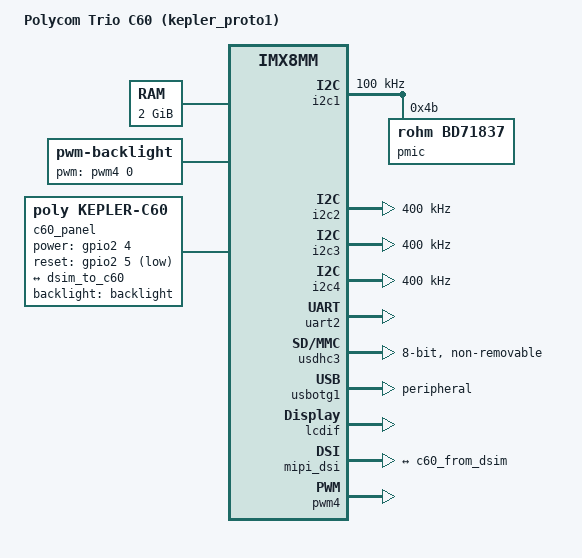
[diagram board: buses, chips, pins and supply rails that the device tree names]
// SPDX-License-Identifier: (GPL-2.0+ OR MIT)
/*
 * Polycom Trio C60 (codename kepler_proto1) — u-boot minimal DTS
 *
 * Derived from arch/arm/dts/imx8mm-evk.dts (NXP EVK reference) with C60
 * specifics:
 *   - 2 GiB LPDDR4 (vs EVK 1 GiB / 2 GiB variant)
 *   - PMIC: Rohm BD71837 @ i2c1 0x4b  (EVK uses PCA9450 @ 0x25)
 *   - usdhc3 (eMMC) — same pads/pinmux as EVK (verified byte-for-byte)
 *   - uart2 console — same pads/pinmux as EVK
 *
 * The kernel-side DTS lives in c60-firmware-build (richer: panel, audio,
 * WiFi, mic array). This one only has what u-boot needs to enumerate
 * eMMC, talk to UART2, and reach fastboot.
 */

/dts-v1/;

#include <dt-bindings/usb/pd.h>
#include <dt-bindings/gpio/gpio.h>
#include "imx8mm.dtsi"

/ {
	model = "Polycom Trio C60 (kepler_proto1)";
	compatible = "polycom,kepler-proto1", "fsl,imx8mm";

	chosen {
		stdout-path = &uart2;
	};

	memory@40000000 {
		device_type = "memory";
		reg = <0x0 0x40000000 0 0x80000000>;
	};

	aliases {
		mmc0 = &usdhc3;        /* eMMC */
		serial0 = &uart2;      /* console */
		usbgadget0 = &usbg1;
	};

	/*
	 * DM USB-gadget binding node. The ci-udc-otg driver
	 * (UCLASS_USB_GADGET_GENERIC) only binds to compatible
	 * "fsl,imx27-usb-gadget" with a chipidea,usb phandle. NXP supply
	 * this via imx8mm-evk-u-boot.dtsi; our standalone DTS has no
	 * matching -u-boot.dtsi, so without this node fastboot/ums fail
	 * with "No USB device found / USB init failed: -19". This is the
	 * single node that makes the gadget controller enumerate.
	 */
	usbg1: usbg1 {
		compatible = "fsl,imx27-usb-gadget";
		dr_mode = "peripheral";
		chipidea,usb = <&usbotg1>;
		status = "okay";
	};
};

&i2c1 {
	clock-frequency = <100000>;
	pinctrl-names = "default";
	pinctrl-0 = <&pinctrl_i2c1>;
	status = "okay";

	pmic@4b {
		compatible = "rohm,bd71837";
		reg = <0x4b>;
		/* the BD71837 driver in u-boot doesn't require child regulators
		 * to be enumerated for boot-time use; SPL hits it via the
		 * legacy power_bd71837_init() path. */
	};
};

&i2c2 {
	clock-frequency = <400000>;
	pinctrl-names = "default";
	pinctrl-0 = <&pinctrl_i2c2>;
	status = "okay";

	/* FocalTech FT5x46-class touch controller @ 0x38. No u-boot touch
	 * driver binds here; the c60_touch board command drives the reset
	 * GPIO (SD1_DATA1) and reads the touch-report registers over this
	 * bus so a finger press can gate boot selection. Also the CENTRE
	 * LP5569 light-bar controller @ 0x32 (driven raw by the c60_ledbar
	 * board code — no u-boot LED driver binds). */
};

/* Light-bar side controllers. The 3 LP5569s live one-per-bus: centre on
 * i2c2 (above), left on i2c3, right on i2c4, all @ 0x32. Enable the two
 * side buses so the bootsel code can reach them over raw DM-I2C. */
&i2c3 {
	clock-frequency = <400000>;
	pinctrl-names = "default";
	pinctrl-0 = <&pinctrl_i2c3>;
	status = "okay";
};

&i2c4 {
	clock-frequency = <400000>;
	pinctrl-names = "default";
	pinctrl-0 = <&pinctrl_i2c4>;
	status = "okay";
};

&uart2 {
	pinctrl-names = "default";
	pinctrl-0 = <&pinctrl_uart2>;
	status = "okay";
};

&usdhc3 {
	assigned-clocks = <&clk IMX8MM_CLK_USDHC3_ROOT>;
	assigned-clock-rates = <400000000>;
	pinctrl-names = "default", "state_100mhz", "state_200mhz";
	pinctrl-0 = <&pinctrl_usdhc3>;
	pinctrl-1 = <&pinctrl_usdhc3_100mhz>;
	pinctrl-2 = <&pinctrl_usdhc3_200mhz>;
	bus-width = <8>;
	non-removable;
	status = "okay";
};

&usbotg1 {
	/*
	 * Force peripheral mode. The EVK uses dr_mode="otg" + usb-role-switch
	 * + a USB-C TCPC (PTN5110) to pick host/device at runtime. The C60
	 * has no TCPC, so with "otg" the ehci-mx6 driver never registers a
	 * UCLASS_USB_GADGET_GENERIC device and fastboot/ums fail with
	 * "No USB device found / -19". Hard-wiring "peripheral" makes the
	 * controller always bind as a gadget — exactly what we need for the
	 * fastboot-based slot flashing + uuu workflow.
	 */
	dr_mode = "peripheral";
	srp-disable;
	hnp-disable;
	adp-disable;
	power-active-high;
	disable-over-current;
	status = "okay";
};

&iomuxc {
	pinctrl_i2c1: i2c1grp {
		fsl,pins = <
			MX8MM_IOMUXC_I2C1_SCL_I2C1_SCL                  0x400001c3
			MX8MM_IOMUXC_I2C1_SDA_I2C1_SDA                  0x400001c3
		>;
	};

	pinctrl_i2c2: i2c2grp {
		fsl,pins = <
			MX8MM_IOMUXC_I2C2_SCL_I2C2_SCL                  0x400001c3
			MX8MM_IOMUXC_I2C2_SDA_I2C2_SDA                  0x400001c3
		>;
	};

	/* Light-bar side buses (values verified against stock c60.dts). */
	pinctrl_i2c3: i2c3grp {
		fsl,pins = <
			MX8MM_IOMUXC_I2C3_SCL_I2C3_SCL                  0x400001c3
			MX8MM_IOMUXC_I2C3_SDA_I2C3_SDA                  0x400001c3
		>;
	};

	pinctrl_i2c4: i2c4grp {
		fsl,pins = <
			MX8MM_IOMUXC_I2C4_SCL_I2C4_SCL                  0x400001c3
			MX8MM_IOMUXC_I2C4_SDA_I2C4_SDA                  0x400001c3
		>;
	};

	pinctrl_uart2: uart2grp {
		fsl,pins = <
			MX8MM_IOMUXC_UART2_RXD_UART2_DCE_RX             0x140
			MX8MM_IOMUXC_UART2_TXD_UART2_DCE_TX             0x140
		>;
	};

	/* Same byte values as EVK — verified against stock C60 DTS */
	pinctrl_usdhc3: usdhc3grp {
		fsl,pins = <
			MX8MM_IOMUXC_NAND_WE_B_USDHC3_CLK               0x190
			MX8MM_IOMUXC_NAND_WP_B_USDHC3_CMD               0x1d0
			MX8MM_IOMUXC_NAND_DATA04_USDHC3_DATA0           0x1d0
			MX8MM_IOMUXC_NAND_DATA05_USDHC3_DATA1           0x1d0
			MX8MM_IOMUXC_NAND_DATA06_USDHC3_DATA2           0x1d0
			MX8MM_IOMUXC_NAND_DATA07_USDHC3_DATA3           0x1d0
			MX8MM_IOMUXC_NAND_RE_B_USDHC3_DATA4             0x1d0
			MX8MM_IOMUXC_NAND_CE2_B_USDHC3_DATA5            0x1d0
			MX8MM_IOMUXC_NAND_CE3_B_USDHC3_DATA6            0x1d0
			MX8MM_IOMUXC_NAND_CLE_USDHC3_DATA7              0x1d0
			MX8MM_IOMUXC_NAND_CE1_B_USDHC3_STROBE           0x190
		>;
	};
	pinctrl_usdhc3_100mhz: usdhc3-100mhzgrp {
		fsl,pins = <
			MX8MM_IOMUXC_NAND_WE_B_USDHC3_CLK               0x194
			MX8MM_IOMUXC_NAND_WP_B_USDHC3_CMD               0x1d4
			MX8MM_IOMUXC_NAND_DATA04_USDHC3_DATA0           0x1d4
			MX8MM_IOMUXC_NAND_DATA05_USDHC3_DATA1           0x1d4
			MX8MM_IOMUXC_NAND_DATA06_USDHC3_DATA2           0x1d4
			MX8MM_IOMUXC_NAND_DATA07_USDHC3_DATA3           0x1d4
			MX8MM_IOMUXC_NAND_RE_B_USDHC3_DATA4             0x1d4
			MX8MM_IOMUXC_NAND_CE2_B_USDHC3_DATA5            0x1d4
			MX8MM_IOMUXC_NAND_CE3_B_USDHC3_DATA6            0x1d4
			MX8MM_IOMUXC_NAND_CLE_USDHC3_DATA7              0x1d4
			MX8MM_IOMUXC_NAND_CE1_B_USDHC3_STROBE           0x194
		>;
	};
	pinctrl_usdhc3_200mhz: usdhc3-200mhzgrp {
		fsl,pins = <
			MX8MM_IOMUXC_NAND_WE_B_USDHC3_CLK               0x196
			MX8MM_IOMUXC_NAND_WP_B_USDHC3_CMD               0x1d6
			MX8MM_IOMUXC_NAND_DATA04_USDHC3_DATA0           0x1d6
			MX8MM_IOMUXC_NAND_DATA05_USDHC3_DATA1           0x1d6
			MX8MM_IOMUXC_NAND_DATA06_USDHC3_DATA2           0x1d6
			MX8MM_IOMUXC_NAND_DATA07_USDHC3_DATA3           0x1d6
			MX8MM_IOMUXC_NAND_RE_B_USDHC3_DATA4             0x1d6
			MX8MM_IOMUXC_NAND_CE2_B_USDHC3_DATA5            0x1d6
			MX8MM_IOMUXC_NAND_CE3_B_USDHC3_DATA6            0x1d6
			MX8MM_IOMUXC_NAND_CLE_USDHC3_DATA7              0x1d6
			MX8MM_IOMUXC_NAND_CE1_B_USDHC3_STROBE           0x196
		>;
	};
};

/*
 * ===========================================================================
 * Display: LCDIF -> Samsung MIPI-DSIM -> RM67191-class 720x1280 panel.
 *
 * Ports the shipped Linux v0.1.7 bring-up (c60-kernel-patches 0001/0012) onto
 * u-boot's proven sec_mipi_dsim + mxsfb + video_link path. Structure mirrors
 * the working TC8 stage-2 DTS (imx8mm-polycom-proline-exec.dts) — which
 * documents every gotcha for this exact u-boot video stack:
 *   - panel is a TOP-LEVEL node (u-boot video_link only chains DM-bound
 *     top-level udevices; a &mipi_dsi child is never bound, so its
 *     get_display_timing()/enable never run);
 *   - the UCLASS_DSI_HOST back-end is a SEPARATE top-level "dsi-host" node;
 *   - &mipi_dsi keeps the base "fsl,imx8mm-mipi-dsim" compatible (binds the
 *     imx_sec_dsim VIDEO_BRIDGE that mxsfb actually drives);
 *   - &lcdif must carry `display = <&display0>` + bits-per-pixel or mxsfb
 *     refuses to probe ("required display property isn't provided").
 * C60 specifics vs TC8: 720x1280 @ 79.61 MHz (not 800x1280/76.5 MHz),
 * non-burst SYNC-PULSE (video-mode=2; burst gave wrong colours per the RE),
 * panel power-enable gpio2_4, reset gpio2_5, PWM4 backlight on SAI3_MCLK.
 * ===========================================================================
 */
/ {
	backlight: backlight {
		compatible = "pwm-backlight";
		pwms = <&pwm4 0 100000 0>;         /* stock 100 us period = 10 kHz */
		brightness-levels = <0 255>;
		num-interpolated-steps = <255>;
		default-brightness-level = <250>;  /* stock 0xfa */
		status = "okay";
	};

	c60_panel: c60-panel {
		compatible = "poly,kepler-c60";
		pinctrl-names = "default";
		pinctrl-0 = <&pinctrl_disp_ctrl>;
		power-gpio = <&gpio2 4 GPIO_ACTIVE_HIGH>;  /* panel 3.3V enable */
		reset-gpio = <&gpio2 5 GPIO_ACTIVE_LOW>;   /* panel reset */
		dsi-lanes = <4>;
		video-mode = <2>;                          /* non-burst sync-pulse */
		backlight = <&backlight>;
		status = "okay";

		port {
			c60_from_dsim: endpoint {
				remote-endpoint = <&dsim_to_c60>;
			};
		};
	};

	dsi_host: dsi-host {
		compatible = "samsung,sec-mipi-dsi";
		status = "okay";
	};
};

&lcdif {
	display = <&display0>;
	status = "okay";

	display0: display@0 {
		bits-per-pixel = <24>;
		bus-width = <24>;

		display-timings {
			native-mode = <&timing_c60>;
			timing_c60: timing-c60 {
				clock-frequency = <79610000>;
				hactive = <720>;
				vactive = <1280>;
				hfront-porch = <100>;
				hback-porch = <30>;
				hsync-len = <90>;
				vfront-porch = <16>;
				vback-porch = <2>;
				vsync-len = <5>;
				hsync-active = <0>;   /* NHSYNC */
				vsync-active = <0>;   /* NVSYNC */
				de-active = <0>;      /* DE low */
				pixelclk-active = <1>;
			};
		};
	};
};

&mipi_dsi {
	status = "okay";

	port@1 {
		dsim_to_c60: endpoint {
			remote-endpoint = <&c60_from_dsim>;
		};
	};
};

&pwm4 {
	pinctrl-names = "default";
	pinctrl-0 = <&pinctrl_pwm4>;
	status = "okay";
};

&iomuxc {
	/* panel power-enable (gpio2_4) + reset (gpio2_5); GPIO mode, pad-ctl 0x16 */
	pinctrl_disp_ctrl: dispctrlgrp {
		fsl,pins = <
			MX8MM_IOMUXC_SD1_DATA2_GPIO2_IO4        0x16
			MX8MM_IOMUXC_SD1_DATA3_GPIO2_IO5        0x16
		>;
	};
	/* PWM4_OUT on SAI3_MCLK, ALT1, pad-ctl 0xd6 (stock; &sai3 left disabled) */
	pinctrl_pwm4: pwm4grp {
		fsl,pins = <
			MX8MM_IOMUXC_SAI3_MCLK_PWM4_OUT         0xd6
		>;
	};
};
